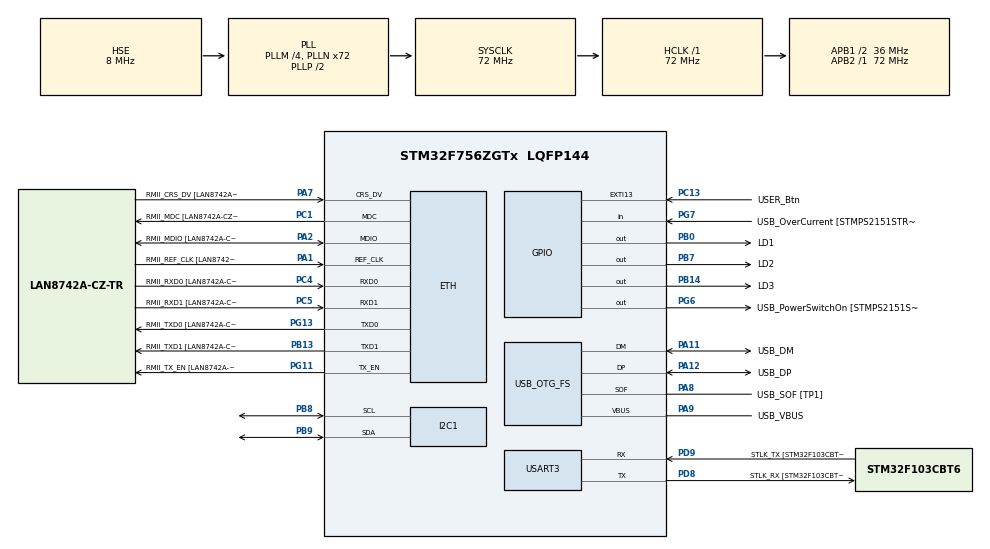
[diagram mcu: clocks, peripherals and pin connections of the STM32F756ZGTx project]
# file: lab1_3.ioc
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ETH.MediaInterface=HAL_ETH_RMII_MODE
ETH.PHY_Name=LAN8742A_PHY_ADDRESS
ETH.PHY_Value=0
ETH.PhyAddress=0
I2C1.Timing=0x00808CD2
Mcu.Family=STM32F7
Mcu.Name=STM32F756ZGTx
Mcu.Package=LQFP144
NVIC.EXTI15_10_IRQn=true\:5\:0\:true\:false\:true\:true\:true\:true
NVIC.PriorityGroup=NVIC_PRIORITYGROUP_4
PA1.GPIO_Label=RMII_REF_CLK [LAN8742A-CZ-TR_REFCLK0]
PA1.Mode=RMII
PA1.Signal=ETH_REF_CLK
PA10.GPIO_Label=USB_ID
PA10.Signal=USB_OTG_FS_ID
PA11.GPIO_Label=USB_DM
PA11.Mode=Device_Only
PA11.Signal=USB_OTG_FS_DM
PA12.GPIO_Label=USB_DP
PA12.Mode=Device_Only
PA12.Signal=USB_OTG_FS_DP
PA13.GPIO_Label=TMS
PA13.Mode=Serial_Wire
PA13.Signal=SYS_JTMS-SWDIO
PA14.GPIO_Label=TCK
PA14.Mode=Serial_Wire
PA14.Signal=SYS_JTCK-SWCLK
PA2.GPIO_Label=RMII_MDIO [LAN8742A-CZ-TR_MDIO]
PA2.Mode=RMII
PA2.Signal=ETH_MDIO
PA7.GPIO_Label=RMII_CRS_DV [LAN8742A-CZ-TR_CRS_DV]
PA7.Mode=RMII
PA7.Signal=ETH_CRS_DV
PA8.GPIO_Label=USB_SOF [TP1]
PA8.Mode=Activate_SOF_FS
PA8.Signal=USB_OTG_FS_SOF
PA9.GPIO_Label=USB_VBUS
PA9.Mode=Activate_VBUS
PA9.Signal=USB_OTG_FS_VBUS
PB0.GPIO_Label=LD1
PB0.Signal=GPIO_Output
PB13.GPIO_Label=RMII_TXD1 [LAN8742A-CZ-TR_TXD1]
PB13.Mode=RMII
PB13.Signal=ETH_TXD1
PB14.GPIO_Label=LD3 
PB14.Signal=GPIO_Output
PB3.GPIO_Label=SW0
PB3.Signal=SYS_JTDO-SWO
PB7.GPIO_Label=LD2
PB7.Signal=GPIO_Output
PB8.Mode=I2C
PB8.Signal=I2C1_SCL
PB9.Mode=I2C
PB9.Signal=I2C1_SDA
PC1.GPIO_Label=RMII_MDC [LAN8742A-CZ-TR_MDC]
PC1.Mode=RMII
PC1.Signal=ETH_MDC
PC13.GPIO_Label=USER_Btn
PC13.GPIO_ModeDefaultEXTI=GPIO_MODE_IT_RISING
PC13.GPIO_PuPd=GPIO_PULLDOWN
PC13.Signal=GPXTI13
PC14/OSC32_IN.Mode=LSE-External-Oscillator
PC14/OSC32_IN.Signal=RCC_OSC32_IN
PC15/OSC32_OUT.Mode=LSE-External-Oscillator
PC15/OSC32_OUT.Signal=RCC_OSC32_OUT
PC4.GPIO_Label=RMII_RXD0 [LAN8742A-CZ-TR_RXD0]
PC4.Mode=RMII
PC4.Signal=ETH_RXD0
PC5.GPIO_Label=RMII_RXD1 [LAN8742A-CZ-TR_RXD1]
PC5.Mode=RMII
PC5.Signal=ETH_RXD1
PD8.GPIO_Label=STLK_RX [STM32F103CBT6_PA3]
PD8.Mode=Asynchronous
PD8.Signal=USART3_TX
PD9.GPIO_Label=STLK_TX [STM32F103CBT6_PA2]
PD9.Mode=Asynchronous
PD9.Signal=USART3_RX
PG11.GPIO_Label=RMII_TX_EN [LAN8742A-CZ-TR_TXEN]
PG11.Mode=RMII
PG11.Signal=ETH_TX_EN
PG13.GPIO_Label=RMII_TXD0 [LAN8742A-CZ-TR_TXD0]
PG13.Mode=RMII
PG13.Signal=ETH_TXD0
PG6.GPIO_Label=USB_PowerSwitchOn [STMPS2151STR_EN]
PG6.Signal=GPIO_Output
PG7.GPIO_Label=USB_OverCurrent [STMPS2151STR_FAULT]
PG7.Signal=GPIO_Input
PH0/OSC_IN.GPIO_Label=MCO [STM32F103CBT6_PA8]
PH0/OSC_IN.Mode=HSE-External-Clock-Source
PH0/OSC_IN.Signal=RCC_OSC_IN
PH1/OSC_OUT.Mode=HSE-External-Clock-Source
PH1/OSC_OUT.Signal=RCC_OSC_OUT
ProjectManager.HeapSize=0x200
ProjectManager.StackSize=0x400
ProjectManager.TargetToolchain=STM32CubeIDE
RCC.48MHZClocksFreq_Value=24000000
RCC.AHBFreq_Value=72000000
RCC.APB1CLKDivider=RCC_HCLK_DIV2
RCC.APB1Freq_Value=36000000
RCC.APB1TimFreq_Value=72000000
RCC.APB2Freq_Value=72000000
RCC.APB2TimFreq_Value=72000000
RCC.CortexFreq_Value=72000000
RCC.HCLKFreq_Value=72000000
RCC.HSE_VALUE=8000000
RCC.HSI_VALUE=16000000
RCC.PLLM=4
RCC.PLLMUL=RCC_PLL_MUL9
RCC.PLLN=72
RCC.PLLQ=3
RCC.PRESCALERUSB=RCC_USBCLKSOURCE_PLL_DIV1_5
RCC.SYSCLKFreq_VALUE=72000000
RCC.SYSCLKSource=RCC_SYSCLKSOURCE_PLLCLK
RCC.SYSCLKSourceVirtual=RCC_SYSCLKSOURCE_PLLCLK
RCC.USBFreq_Value=48000000
RCC.VCOOutputFreq_Value=144000000
USART3.VirtualMode-Asynchronous=VM_ASYNC
USB_OTG_FS.VirtualMode=Device_Only
board=NUCLEO-F756ZG

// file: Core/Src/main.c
/* USER CODE BEGIN Header */
/**
  ******************************************************************************
  * @file           : main.c
  * @brief          : Main program body
  ******************************************************************************
  * @attention
  *
  * Copyright (c) 2025 STMicroelectronics.
  * All rights reserved.
  *
  * This software is licensed under terms that can be found in the LICENSE file
  * in the root directory of this software component.
  * If no LICENSE file comes with this software, it is provided AS-IS.
  *
  ******************************************************************************
  */
/* USER CODE END Header */
#include "main.h"
#include "string.h"

/* USER CODE BEGIN Includes */
#include <stdbool.h>
/* USER CODE END Includes */

#if defined ( __ICCARM__ ) /*!< IAR Compiler */
#pragma location=0x2004c000
ETH_DMADescTypeDef  DMARxDscrTab[ETH_RX_DESC_CNT]; /* Ethernet Rx DMA Descriptors */
#pragma location=0x2004c0a0
ETH_DMADescTypeDef  DMATxDscrTab[ETH_TX_DESC_CNT]; /* Ethernet Tx DMA Descriptors */

#elif defined ( __CC_ARM )  /* MDK ARM Compiler */

__attribute__((at(0x2004c000))) ETH_DMADescTypeDef  DMARxDscrTab[ETH_RX_DESC_CNT]; /* Ethernet Rx DMA Descriptors */
__attribute__((at(0x2004c0a0))) ETH_DMADescTypeDef  DMATxDscrTab[ETH_TX_DESC_CNT]; /* Ethernet Tx DMA Descriptors */

#elif defined ( __GNUC__ ) /* GNU Compiler */

ETH_DMADescTypeDef DMARxDscrTab[ETH_RX_DESC_CNT] __attribute__((section(".RxDecripSection"))); /* Ethernet Rx DMA Descriptors */
ETH_DMADescTypeDef DMATxDscrTab[ETH_TX_DESC_CNT] __attribute__((section(".TxDecripSection")));   /* Ethernet Tx DMA Descriptors */
#endif

ETH_TxPacketConfig TxConfig;

ETH_HandleTypeDef heth;

I2C_HandleTypeDef hi2c1;

UART_HandleTypeDef huart3;

PCD_HandleTypeDef hpcd_USB_OTG_FS;

void SystemClock_Config(void);
static void MX_GPIO_Init(void);
static void MX_ETH_Init(void);
static void MX_I2C1_Init(void);
static void MX_USART3_UART_Init(void);
static void MX_USB_OTG_FS_PCD_Init(void);
/* USER CODE BEGIN PFP */

#define DEBOUNCE_TIME 200

typedef struct {
    GPIO_TypeDef* port;
    uint16_t pin;
} pin_t;

typedef struct {
    pin_t gpio;
    uint8_t prev_state;
    volatile  uint32_t last_pressed;
} Button;

Button user_button = {{USER_Btn_GPIO_Port, USER_Btn_Pin}, 0, 0};
pin_t LED1 = {LD1_GPIO_Port, LD1_Pin};

void HAL_GPIO_EXTI_Callback(uint16_t GPIO_Pin){

	if (GPIO_Pin == user_button.gpio.pin)
	    {
	        uint32_t now = HAL_GetTick();

	        if (now - user_button.last_pressed > DEBOUNCE_TIME)
	        {
	        	user_button.last_pressed = now;
	            HAL_GPIO_TogglePin(LED1.port, LED1.pin);
	        }
	    }

}

/* USER CODE END PFP */

int main(void)
{

  /* MCU Configuration--------------------------------------------------------*/

  /* Reset of all peripherals, Initializes the Flash interface and the Systick. */
  HAL_Init();

  /* Configure the system clock */
  SystemClock_Config();

  /* Initialize all configured peripherals */
  MX_GPIO_Init();
  MX_ETH_Init();
  MX_I2C1_Init();
  MX_USART3_UART_Init();
  MX_USB_OTG_FS_PCD_Init();

  /* Infinite loop */
  while (1)
  {

  }
}

void SystemClock_Config(void)
{
  RCC_OscInitTypeDef RCC_OscInitStruct = {0};
  RCC_ClkInitTypeDef RCC_ClkInitStruct = {0};

  /** Configure LSE Drive Capability
  */
  HAL_PWR_EnableBkUpAccess();

  /** Configure the main internal regulator output voltage
  */
  __HAL_RCC_PWR_CLK_ENABLE();
  __HAL_PWR_VOLTAGESCALING_CONFIG(PWR_REGULATOR_VOLTAGE_SCALE3);

  /** Initializes the RCC Oscillators according to the specified parameters
  * in the RCC_OscInitTypeDef structure.
  */
  RCC_OscInitStruct.OscillatorType = RCC_OSCILLATORTYPE_HSE;
  RCC_OscInitStruct.HSEState = RCC_HSE_BYPASS;
  RCC_OscInitStruct.PLL.PLLState = RCC_PLL_ON;
  RCC_OscInitStruct.PLL.PLLSource = RCC_PLLSOURCE_HSE;
  RCC_OscInitStruct.PLL.PLLM = 4;
  RCC_OscInitStruct.PLL.PLLN = 72;
  RCC_OscInitStruct.PLL.PLLP = RCC_PLLP_DIV2;
  RCC_OscInitStruct.PLL.PLLQ = 3;
  if (HAL_RCC_OscConfig(&RCC_OscInitStruct) != HAL_OK)
  {
    Error_Handler();
  }

  /** Initializes the CPU, AHB and APB buses clocks
  */
  RCC_ClkInitStruct.ClockType = RCC_CLOCKTYPE_HCLK|RCC_CLOCKTYPE_SYSCLK
                              |RCC_CLOCKTYPE_PCLK1|RCC_CLOCKTYPE_PCLK2;
  RCC_ClkInitStruct.SYSCLKSource = RCC_SYSCLKSOURCE_PLLCLK;
  RCC_ClkInitStruct.AHBCLKDivider = RCC_SYSCLK_DIV1;
  RCC_ClkInitStruct.APB1CLKDivider = RCC_HCLK_DIV2;
  RCC_ClkInitStruct.APB2CLKDivider = RCC_HCLK_DIV1;

  if (HAL_RCC_ClockConfig(&RCC_ClkInitStruct, FLASH_LATENCY_2) != HAL_OK)
  {
    Error_Handler();
  }
}

static void MX_ETH_Init(void)
{

   static uint8_t MACAddr[6];

  heth.Instance = ETH;
  MACAddr[0] = 0x00;
  MACAddr[1] = 0x80;
  MACAddr[2] = 0xE1;
  MACAddr[3] = 0x00;
  MACAddr[4] = 0x00;
  MACAddr[5] = 0x00;
  heth.Init.MACAddr = &MACAddr[0];
  heth.Init.MediaInterface = HAL_ETH_RMII_MODE;
  heth.Init.TxDesc = DMATxDscrTab;
  heth.Init.RxDesc = DMARxDscrTab;
  heth.Init.RxBuffLen = 1524;

  if (HAL_ETH_Init(&heth) != HAL_OK)
  {
    Error_Handler();
  }

  memset(&TxConfig, 0 , sizeof(ETH_TxPacketConfig));
  TxConfig.Attributes = ETH_TX_PACKETS_FEATURES_CSUM | ETH_TX_PACKETS_FEATURES_CRCPAD;
  TxConfig.ChecksumCtrl = ETH_CHECKSUM_IPHDR_PAYLOAD_INSERT_PHDR_CALC;
  TxConfig.CRCPadCtrl = ETH_CRC_PAD_INSERT;

}

static void MX_I2C1_Init(void)
{

  hi2c1.Instance = I2C1;
  hi2c1.Init.Timing = 0x00808CD2;
  hi2c1.Init.OwnAddress1 = 0;
  hi2c1.Init.AddressingMode = I2C_ADDRESSINGMODE_7BIT;
  hi2c1.Init.DualAddressMode = I2C_DUALADDRESS_DISABLE;
  hi2c1.Init.OwnAddress2 = 0;
  hi2c1.Init.OwnAddress2Masks = I2C_OA2_NOMASK;
  hi2c1.Init.GeneralCallMode = I2C_GENERALCALL_DISABLE;
  hi2c1.Init.NoStretchMode = I2C_NOSTRETCH_DISABLE;
  if (HAL_I2C_Init(&hi2c1) != HAL_OK)
  {
    Error_Handler();
  }

  /** Configure Analogue filter
  */
  if (HAL_I2CEx_ConfigAnalogFilter(&hi2c1, I2C_ANALOGFILTER_ENABLE) != HAL_OK)
  {
    Error_Handler();
  }

  /** Configure Digital filter
  */
  if (HAL_I2CEx_ConfigDigitalFilter(&hi2c1, 0) != HAL_OK)
  {
    Error_Handler();
  }

}

static void MX_USART3_UART_Init(void)
{

  huart3.Instance = USART3;
  huart3.Init.BaudRate = 115200;
  huart3.Init.WordLength = UART_WORDLENGTH_8B;
  huart3.Init.StopBits = UART_STOPBITS_1;
  huart3.Init.Parity = UART_PARITY_NONE;
  huart3.Init.Mode = UART_MODE_TX_RX;
  huart3.Init.HwFlowCtl = UART_HWCONTROL_NONE;
  huart3.Init.OverSampling = UART_OVERSAMPLING_16;
  huart3.Init.OneBitSampling = UART_ONE_BIT_SAMPLE_DISABLE;
  huart3.AdvancedInit.AdvFeatureInit = UART_ADVFEATURE_NO_INIT;
  if (HAL_UART_Init(&huart3) != HAL_OK)
  {
    Error_Handler();
  }

}

static void MX_USB_OTG_FS_PCD_Init(void)
{

  hpcd_USB_OTG_FS.Instance = USB_OTG_FS;
  hpcd_USB_OTG_FS.Init.dev_endpoints = 6;
  hpcd_USB_OTG_FS.Init.speed = PCD_SPEED_FULL;
  hpcd_USB_OTG_FS.Init.dma_enable = DISABLE;
  hpcd_USB_OTG_FS.Init.phy_itface = PCD_PHY_EMBEDDED;
  hpcd_USB_OTG_FS.Init.Sof_enable = ENABLE;
  hpcd_USB_OTG_FS.Init.low_power_enable = DISABLE;
  hpcd_USB_OTG_FS.Init.lpm_enable = DISABLE;
  hpcd_USB_OTG_FS.Init.vbus_sensing_enable = ENABLE;
  hpcd_USB_OTG_FS.Init.use_dedicated_ep1 = DISABLE;
  if (HAL_PCD_Init(&hpcd_USB_OTG_FS) != HAL_OK)
  {
    Error_Handler();
  }

}

static void MX_GPIO_Init(void)
{
  GPIO_InitTypeDef GPIO_InitStruct = {0};

  /* GPIO Ports Clock Enable */
  __HAL_RCC_GPIOC_CLK_ENABLE();
  __HAL_RCC_GPIOH_CLK_ENABLE();
  __HAL_RCC_GPIOA_CLK_ENABLE();
  __HAL_RCC_GPIOB_CLK_ENABLE();
  __HAL_RCC_GPIOD_CLK_ENABLE();
  __HAL_RCC_GPIOG_CLK_ENABLE();

  /*Configure GPIO pin Output Level */
  HAL_GPIO_WritePin(GPIOB, LD1_Pin|LD3_Pin|LD2_Pin, GPIO_PIN_RESET);

  /*Configure GPIO pin Output Level */
  HAL_GPIO_WritePin(USB_PowerSwitchOn_GPIO_Port, USB_PowerSwitchOn_Pin, GPIO_PIN_RESET);

  /*Configure GPIO pin : USER_Btn_Pin */
  GPIO_InitStruct.Pin = USER_Btn_Pin;
  GPIO_InitStruct.Mode = GPIO_MODE_IT_RISING;
  GPIO_InitStruct.Pull = GPIO_PULLDOWN;
  HAL_GPIO_Init(USER_Btn_GPIO_Port, &GPIO_InitStruct);

  /*Configure GPIO pins : LD1_Pin LD3_Pin LD2_Pin */
  GPIO_InitStruct.Pin = LD1_Pin|LD3_Pin|LD2_Pin;
  GPIO_InitStruct.Mode = GPIO_MODE_OUTPUT_PP;
  GPIO_InitStruct.Pull = GPIO_NOPULL;
  GPIO_InitStruct.Speed = GPIO_SPEED_FREQ_LOW;
  HAL_GPIO_Init(GPIOB, &GPIO_InitStruct);

  /*Configure GPIO pin : USB_PowerSwitchOn_Pin */
  GPIO_InitStruct.Pin = USB_PowerSwitchOn_Pin;
  GPIO_InitStruct.Mode = GPIO_MODE_OUTPUT_PP;
  GPIO_InitStruct.Pull = GPIO_NOPULL;
  GPIO_InitStruct.Speed = GPIO_SPEED_FREQ_LOW;
  HAL_GPIO_Init(USB_PowerSwitchOn_GPIO_Port, &GPIO_InitStruct);

  /*Configure GPIO pin : USB_OverCurrent_Pin */
  GPIO_InitStruct.Pin = USB_OverCurrent_Pin;
  GPIO_InitStruct.Mode = GPIO_MODE_INPUT;
  GPIO_InitStruct.Pull = GPIO_NOPULL;
  HAL_GPIO_Init(USB_OverCurrent_GPIO_Port, &GPIO_InitStruct);

  /* EXTI interrupt init*/
  HAL_NVIC_SetPriority(EXTI15_10_IRQn, 5, 0);
  HAL_NVIC_EnableIRQ(EXTI15_10_IRQn);

}

void Error_Handler(void)
{
  __disable_irq();
  while (1)
  {
  }
}
